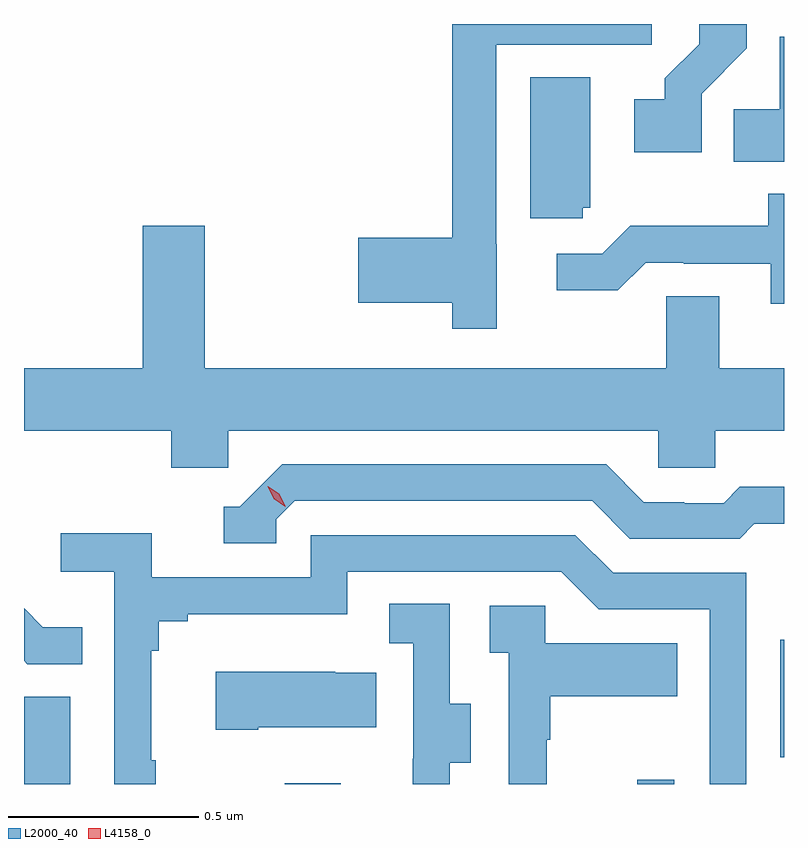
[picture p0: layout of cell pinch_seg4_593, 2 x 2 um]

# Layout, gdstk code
import gdstk
lib = gdstk.Library(unit=1e-6, precision=1e-09)
def R(c, l, rs):  # rectangles x0, y0, x1, y1
    for r in rs: c.add(gdstk.rectangle(r[:2], r[2:], *l))
def P(c, l, *ps):  # polygons
    for p in ps: c.add(gdstk.Polygon(p, *l))
L2000_40 = (2000, 40)
L4158_0 = (4158, 0)

pinch_seg4_593 = lib.new_cell('pinch_seg4_593')
R(pinch_seg4_593, L2000_40, [(1075.784,785.234,1075.906,785.463), (1076.47,785.234,1076.617,785.236), (1077.398,785.234,1077.495,785.245), (1077.774,785.304,1077.784,785.614)])
P(pinch_seg4_593, L2000_40, [(1077.567,787.051),(1077.686,787.17),(1077.686,787.234),(1077.561,787.234),(1077.561,787.181),(1077.47,787.091),(1077.47,787.036),(1077.39,787.036),(1077.39,786.896),(1077.567,786.896)],
  [(1077.028,786.654),(1077.027,786.654),(1077.027,787.179),(1077.436,787.179),(1077.436,787.234),(1076.911,787.234),(1076.911,786.671),(1076.664,786.671),(1076.664,786.5),(1076.911,786.5),(1076.911,786.432),(1077.028,786.432)],
  [(1077.784,787.201),(1077.773,787.201),(1077.773,787.01),(1077.652,787.01),(1077.652,786.872),(1077.784,786.872)],
  [(1077.255,786.75),(1077.274,786.75),(1077.274,787.094),(1077.116,787.094),(1077.116,786.723),(1077.255,786.723)],
  [(1077.784,786.787),(1077.742,786.787),(1077.742,786.703),(1077.379,786.703),(1077.306,786.63),(1077.186,786.63),(1077.186,786.533),(1077.347,786.533),(1077.42,786.606),(1077.52,786.606),(1077.52,786.603),(1077.749,786.603),(1077.749,786.498),(1077.784,786.498)],
  [(1076.26,786.703),(1076.096,786.703),(1076.096,786.328),(1075.784,786.328),(1075.784,786.164),(1076.171,786.164),(1076.171,786.066),(1076.322,786.066),(1076.322,786.164),(1077.453,786.164),(1077.453,786.066),(1077.603,786.066),(1077.603,786.164),(1077.784,786.164),(1077.784,786.328),(1077.613,786.328),(1077.613,786.518),(1077.474,786.518),(1077.474,786.328),(1076.26,786.328)],
  [(1076.448,785.931),(1076.496,785.979),(1077.279,785.979),(1077.378,785.88),(1077.667,785.88),(1077.706,785.919),(1077.784,785.919),(1077.784,786.016),(1077.667,786.016),(1077.625,785.973),(1077.522,785.973),(1077.522,785.976),(1077.415,785.976),(1077.316,786.075),(1076.463,786.075),(1076.352,785.964),(1076.309,785.964),(1076.309,785.868),(1076.448,785.868)],
  [(1076.131,785.297),(1076.119,785.297),(1076.119,785.585),(1076.138,785.585),(1076.138,785.662),(1076.215,785.662),(1076.215,785.681),(1076.634,785.681),(1076.634,785.793),(1077.198,785.793),(1077.297,785.694),(1077.588,785.694),(1077.588,785.234),(1077.684,785.234),(1077.684,785.79),(1077.334,785.79),(1077.235,785.889),(1076.538,785.889),(1076.538,785.778),(1076.12,785.778),(1076.12,785.894),(1075.881,785.894),(1075.881,785.792),(1076.022,785.792),(1076.022,785.234),(1076.131,785.234)],
  [(1076.905,785.29),(1076.959,785.29),(1076.959,785.445),(1076.904,785.445),(1076.904,785.708),(1076.745,785.708),(1076.745,785.605),(1076.808,785.605),(1076.808,785.301),(1076.807,785.301),(1076.807,785.234),(1076.905,785.234)],
  [(1077.159,785.351),(1077.169,785.351),(1077.169,785.465),(1077.503,785.465),(1077.503,785.605),(1077.156,785.605),(1077.156,785.703),(1077.009,785.703),(1077.009,785.579),(1077.06,785.579),(1077.06,785.234),(1077.159,785.234)],
  [(1075.937,785.647),(1075.833,785.647),(1075.784,785.696),(1075.784,785.558),(1075.793,785.549),(1075.937,785.549)],
  [(1076.401,785.384),(1076.711,785.384),(1076.711,785.527),(1076.603,785.527),(1076.603,785.53),(1076.289,785.53),(1076.289,785.377),(1076.401,785.377)])
P(pinch_seg4_593, L4158_0, [(1076.471,785.964),(1076.441,785.985),(1076.426,786.018),(1076.426,786.018),(1076.426,786.018),(1076.456,785.998),(1076.472,785.965),(1076.472,785.964)])

lib.write_gds('pinch_seg4_593.gds')
